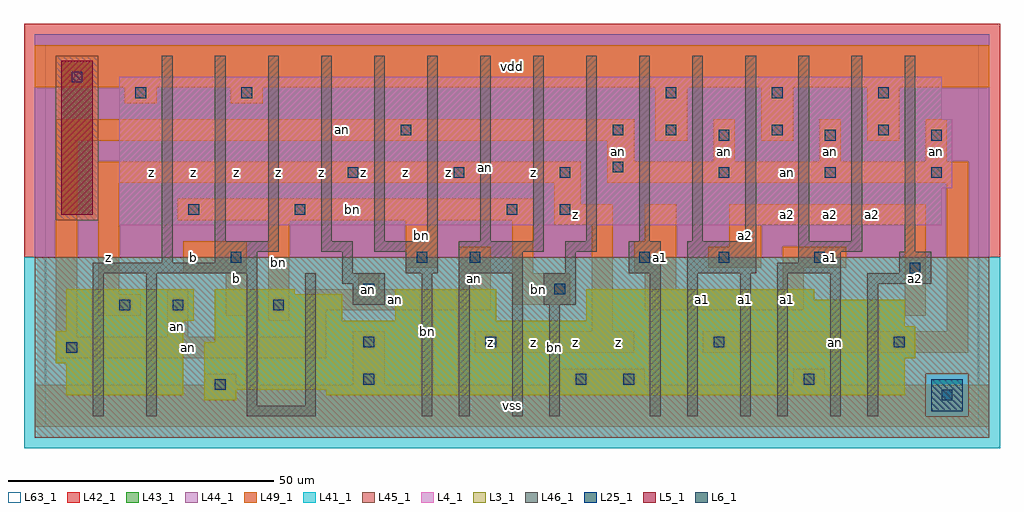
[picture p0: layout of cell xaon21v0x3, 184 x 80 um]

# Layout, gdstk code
import gdstk
lib = gdstk.Library(unit=1e-6, precision=1e-09)
def R(c, l, rs):  # rectangles x0, y0, x1, y1
    for r in rs: c.add(gdstk.rectangle(r[:2], r[2:], *l))
def A(c, l, x, y, w, h, nx, ny, dx, dy):  # array of equal rectangles
    R(c, l, [(x+i*dx, y+j*dy, x+i*dx+w, y+j*dy+h) for i in range(nx) for j in range(ny)])
L3_1 = (3, 1)
L4_1 = (4, 1)
L5_1 = (5, 1)
L6_1 = (6, 1)
L25_1 = (25, 1)
L41_1 = (41, 1)
L42_1 = (42, 1)
L43_1 = (43, 1)
L44_1 = (44, 1)
L45_1 = (45, 1)
L46_1 = (46, 1)
L49_1 = (49, 1)
L63_1 = (63, 1)

xaon21v0x3 = lib.new_cell('xaon21v0x3')
R(xaon21v0x3, L3_1, [(30,5,36,7), (4,6,26,12), (53,6,162,7), (30,7,162,13), (2,12,26,18), (30,13,164,16), (32,16,164,19), (4,18,26,20), (32,19,162,20), (4,20,28,26), (32,20,56,25), (66,20,85,26), (102,20,162,24), (102,24,145,26), (32,25,47,26)])
R(xaon21v0x3, L4_1, [(14,38,169,45), (14,45,171,58), (14,58,169,66)])
R(xaon21v0x3, L5_1, [(3,40,9,69)])
R(xaon21v0x3, L6_1, [(167,3,173,9), (167,3,173,9)])
A(xaon21v0x3, L25_1, 57, 47, 2, 2, 3, 1, 20, 0)
A(xaon21v0x3, L25_1, 127, 47, 2, 2, 3, 2, 20, 7)
A(xaon21v0x3, L25_1, 117, 55, 2, 2, 3, 2, 20, 7)
R(xaon21v0x3, L25_1, [(169,5,171,7), (32,7,34,9), (60,8,62,10), (100,8,102,10), (109,8,111,10), (143,8,145,10), (4,14,6,16), (60,15,62,17), (83,15,85,17), (126,15,128,17), (160,15,162,17), (14,22,16,24), (24,22,26,24), (43,22,45,24), (60,25,62,27), (96,25,98,27), (163,29,165,31), (35,31,37,33), (70,31,72,33), (80,31,82,33), (112,31,114,33), (127,31,129,33), (145,31,147,33), (27,40,29,42), (47,40,49,42), (87,40,89,42), (97,40,99,42), (107,48,109,50), (67,55,69,57), (107,55,109,57), (17,62,19,64), (37,62,39,64), (5,65,7,67)])
R(xaon21v0x3, L41_1, [(-4,-4,180,32)])
R(xaon21v0x3, L42_1, [(-4,32,180,76)])
R(xaon21v0x3, L43_1, [(167,3,173,9), (30,5,36,7), (4,6,26,12), (53,6,162,7), (30,7,162,13), (2,12,26,18), (30,13,164,16), (32,16,164,19), (4,18,26,20), (32,19,162,20), (4,20,28,26), (32,20,56,25), (66,20,85,26), (102,20,162,24), (102,24,145,26), (32,25,47,26), (14,38,169,45), (3,40,9,69), (14,45,171,58), (14,58,169,66)])
R(xaon21v0x3, L44_1, [(166,2,174,10), (-2,32,178,39), (-2,39,2,70), (10,39,178,70), (-2,70,178,74)])
R(xaon21v0x3, L45_1, [(-2,-2,178,2), (-2,2,166,10), (174,2,178,10), (-2,10,178,32), (2,39,10,70)])
A(xaon21v0x3, L46_1, 32, 35, 2, 35, 13, 1, 10, 0)
R(xaon21v0x3, L46_1, [(9,2,11,29), (19,2,21,29), (38,2,51,4), (71,2,73,29), (78,2,80,29), (88,2,90,29), (95,2,97,23), (114,2,116,29), (121,2,123,29), (131,2,133,29), (138,2,140,29), (148,2,150,29), (155,2,157,27), (38,4,40,29), (49,4,51,29), (58,23,64,27), (94,23,100,29), (56,27,64,29), (155,27,167,29), (9,29,40,31), (56,29,58,33), (68,29,74,33), (78,29,90,33), (98,29,100,33), (110,29,116,35), (121,29,134,35), (138,29,150,31), (161,29,167,33), (22,31,24,70), (32,31,40,33), (142,31,150,33), (32,33,44,35), (52,33,58,35), (62,33,74,35), (78,33,94,35), (98,33,104,35), (142,33,154,35), (162,33,164,70)])
A(xaon21v0x3, L49_1, 126, 50, 4, 8, 3, 1, 20, 0)
A(xaon21v0x3, L49_1, 115, 54, 6, 10, 3, 1, 20, 0)
R(xaon21v0x3, L49_1, [(-2,0,178,8), (30,8,36,10), (58,8,64,18), (97,8,113,11), (141,8,147,11), (2,13,53,17), (81,14,111,18), (124,14,174,18), (2,17,6,54), (23,17,27,26), (49,17,53,22), (103,18,107,38), (170,18,174,46), (42,20,46,39), (10,21,18,25), (34,21,38,29), (162,21,166,38), (49,22,84,26), (113,22,143,26), (88,23,99,29), (10,25,14,46), (59,26,63,29), (78,26,84,34), (113,26,119,29), (139,26,143,30), (26,29,38,35), (88,29,92,39), (111,29,119,35), (68,30,74,39), (125,30,135,34), (139,30,151,34), (129,34,135,38), (113,35,119,42), (96,38,107,42), (129,38,166,42), (25,39,92,43), (96,42,101,46), (10,46,101,50), (106,46,174,50), (106,50,111,54), (2,54,111,58), (15,61,21,64), (35,61,41,64), (-2,64,178,72)])
R(xaon21v0x3, L63_1, [(0,0,176,72)])
xaon21v0x3.add(gdstk.Label('bn', (72,18), layer=46, texttype=1))
xaon21v0x3.add(gdstk.Label('an', (61,26), layer=49, texttype=1))
xaon21v0x3.add(gdstk.Label('an', (83,49), layer=46, texttype=1))
xaon21v0x3.add(gdstk.Label('bn', (96,15), layer=46, texttype=1))
xaon21v0x3.add(gdstk.Label('an', (25,19), layer=49, texttype=1))
xaon21v0x3.add(gdstk.Label('z', (12,32), layer=49, texttype=1))
xaon21v0x3.add(gdstk.Label('b', (28,32), layer=49, texttype=1))
xaon21v0x3.add(gdstk.Label('z', (20,48), layer=49, texttype=1))
xaon21v0x3.add(gdstk.Label('z', (28,48), layer=49, texttype=1))
xaon21v0x3.add(gdstk.Label('an', (27,15), layer=49, texttype=1))
xaon21v0x3.add(gdstk.Label('b', (36,28), layer=49, texttype=1))
xaon21v0x3.add(gdstk.Label('bn', (44,31), layer=49, texttype=1))
xaon21v0x3.add(gdstk.Label('z', (36,48), layer=49, texttype=1))
xaon21v0x3.add(gdstk.Label('z', (44,48), layer=49, texttype=1))
xaon21v0x3.add(gdstk.Label('z', (52,48), layer=49, texttype=1))
xaon21v0x3.add(gdstk.Label('z', (60,48), layer=49, texttype=1))
xaon21v0x3.add(gdstk.Label('vss', (88,4), layer=49, texttype=1))
xaon21v0x3.add(gdstk.Label('z', (100,16), layer=49, texttype=1))
xaon21v0x3.add(gdstk.Label('z', (84,16), layer=49, texttype=1))
xaon21v0x3.add(gdstk.Label('z', (92,16), layer=49, texttype=1))
xaon21v0x3.add(gdstk.Label('an', (66,24), layer=49, texttype=1))
xaon21v0x3.add(gdstk.Label('an', (81,28), layer=49, texttype=1))
xaon21v0x3.add(gdstk.Label('bn', (93,26), layer=49, texttype=1))
xaon21v0x3.add(gdstk.Label('z', (100,40), layer=49, texttype=1))
xaon21v0x3.add(gdstk.Label('bn', (58,41), layer=49, texttype=1))
xaon21v0x3.add(gdstk.Label('bn', (71,36), layer=49, texttype=1))
xaon21v0x3.add(gdstk.Label('z', (68,48), layer=49, texttype=1))
xaon21v0x3.add(gdstk.Label('z', (76,48), layer=49, texttype=1))
xaon21v0x3.add(gdstk.Label('z', (84,48), layer=49, texttype=1))
xaon21v0x3.add(gdstk.Label('z', (92,48), layer=49, texttype=1))
xaon21v0x3.add(gdstk.Label('vdd', (88,68), layer=49, texttype=1))
xaon21v0x3.add(gdstk.Label('z', (108,16), layer=49, texttype=1))
xaon21v0x3.add(gdstk.Label('a1', (124,24), layer=49, texttype=1))
xaon21v0x3.add(gdstk.Label('a1', (132,24), layer=49, texttype=1))
xaon21v0x3.add(gdstk.Label('a1', (140,24), layer=49, texttype=1))
xaon21v0x3.add(gdstk.Label('a1', (116,32), layer=49, texttype=1))
xaon21v0x3.add(gdstk.Label('a2', (140,40), layer=49, texttype=1))
xaon21v0x3.add(gdstk.Label('a2', (132,36), layer=49, texttype=1))
xaon21v0x3.add(gdstk.Label('an', (128,52), layer=49, texttype=1))
xaon21v0x3.add(gdstk.Label('an', (108,52), layer=49, texttype=1))
xaon21v0x3.add(gdstk.Label('an', (56,56), layer=49, texttype=1))
xaon21v0x3.add(gdstk.Label('an', (149,16), layer=49, texttype=1))
xaon21v0x3.add(gdstk.Label('a1', (148,32), layer=49, texttype=1))
xaon21v0x3.add(gdstk.Label('a2', (164,28), layer=49, texttype=1))
xaon21v0x3.add(gdstk.Label('a2', (148,40), layer=49, texttype=1))
xaon21v0x3.add(gdstk.Label('a2', (156,40), layer=49, texttype=1))
xaon21v0x3.add(gdstk.Label('an', (140,48), layer=49, texttype=1))
xaon21v0x3.add(gdstk.Label('an', (148,52), layer=49, texttype=1))
xaon21v0x3.add(gdstk.Label('an', (168,52), layer=49, texttype=1))

lib.write_gds('xaon21v0x3.gds')
